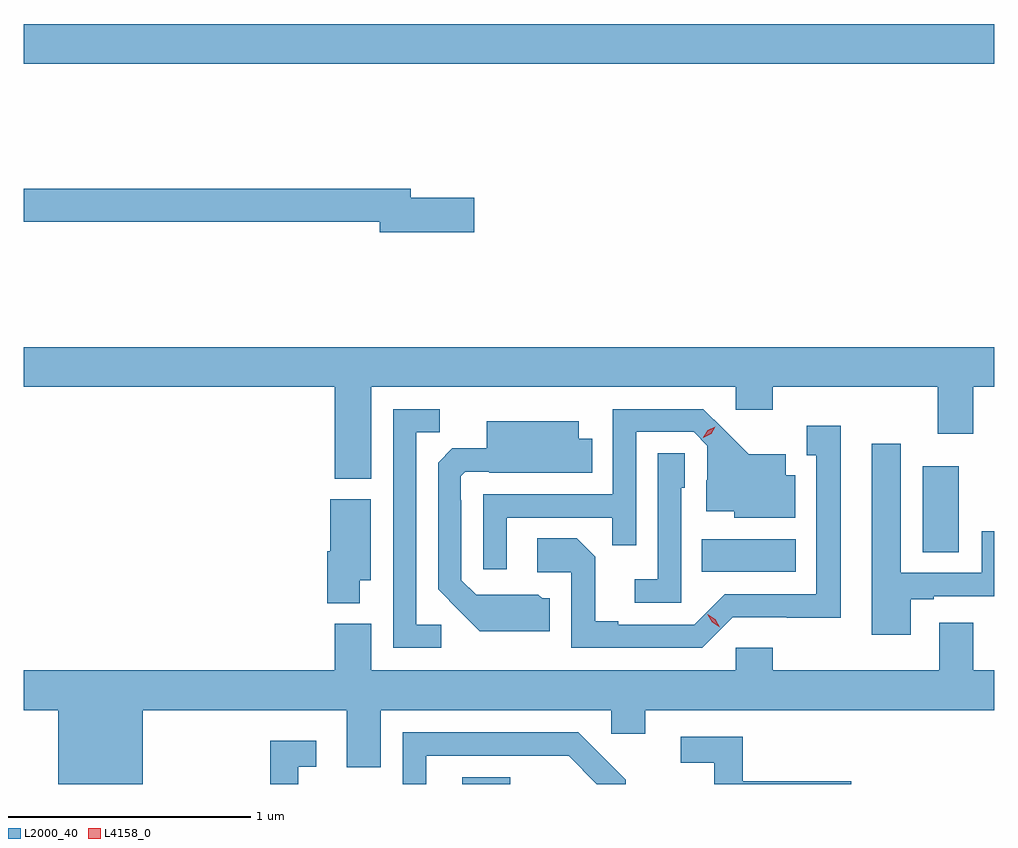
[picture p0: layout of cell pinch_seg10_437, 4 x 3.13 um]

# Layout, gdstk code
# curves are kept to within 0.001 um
import gdstk
lib = gdstk.Library(unit=1e-6, precision=1e-09)
def R(c, l, rs):  # rectangles x0, y0, x1, y1
    for r in rs: c.add(gdstk.rectangle(r[:2], r[2:], *l))
def P(c, l, *ps):  # polygons
    for p in ps: c.add(gdstk.Polygon(p, *l))
L2000_40 = (2000, 40)
L4158_0 = (4158, 0)

pinch_seg10_437 = lib.new_cell('pinch_seg10_437')
R(pinch_seg10_437, L2000_40, [(335.07,1309.335,335.268,1309.362), (336.058,1310.21,336.445,1310.344), (336.968,1310.29,337.117,1310.644), (333.263,1312.304,337.263,1312.468)])
P(pinch_seg10_437, L2000_40, [(335.119,1311.752),(334.858,1311.752),(334.858,1311.788),(333.263,1311.788),(333.263,1311.652),(334.73,1311.652),(334.73,1311.61),(335.119,1311.61)],
  [(334.696,1310.972),(336.198,1310.972),(336.198,1310.877),(336.35,1310.877),(336.35,1310.972),(337.03,1310.972),(337.03,1310.778),(337.177,1310.778),(337.177,1310.972),(337.263,1310.972),(337.263,1311.136),(333.263,1311.136),(333.263,1310.972),(334.544,1310.972),(334.544,1310.594),(334.696,1310.594)],
  [(334.984,1309.992),(334.881,1309.992),(334.881,1310.785),(334.977,1310.785),(334.977,1310.88),(334.785,1310.88),(334.785,1309.896),(334.984,1309.896)],
  [(335.253,1310.433),(335.689,1310.433),(335.689,1310.32),(335.787,1310.32),(335.787,1310.787),(336.024,1310.787),(336.081,1310.73),(336.081,1310.588),(336.077,1310.588),(336.077,1310.459),(336.192,1310.459),(336.192,1310.432),(336.442,1310.432),(336.442,1310.608),(336.403,1310.608),(336.403,1310.695),(336.251,1310.695),(336.064,1310.88),(335.691,1310.88),(335.691,1310.529),(335.157,1310.529),(335.157,1310.22),(335.253,1310.22)],
  [(335.431,1310.1),(335.4,1310.1),(335.384,1310.116),(335.127,1310.115),(335.067,1310.175),(335.067,1310.504),(335.064,1310.504),(335.064,1310.604),(335.082,1310.622),(335.182,1310.622),(335.182,1310.618),(335.606,1310.618),(335.606,1310.758),(335.551,1310.758),(335.551,1310.83),(335.171,1310.83),(335.171,1310.719),(335.03,1310.719),(334.971,1310.66),(334.971,1310.138),(335.143,1309.964),(335.431,1309.964)],
  [(336.186,1310.022),(336.631,1310.021),(336.631,1310.812),(336.491,1310.812),(336.491,1310.691),(336.53,1310.691),(336.53,1310.118),(336.153,1310.118),(336.027,1309.992),(335.713,1309.992),(335.713,1310.005),(335.619,1310.005),(335.619,1310.272),(335.543,1310.348),(335.379,1310.348),(335.379,1310.208),(335.52,1310.208),(335.52,1309.896),(336.06,1309.896)],
  [(336.919,1310.097),(337.015,1310.097),(337.015,1310.109),(337.263,1310.109),(337.263,1310.377),(337.211,1310.377),(337.211,1310.205),(336.877,1310.205),(336.877,1310.737),(336.758,1310.737),(336.758,1309.95),(336.919,1309.95)],
  [(335.973,1310.556),(335.988,1310.556),(335.988,1310.699),(335.877,1310.699),(335.877,1310.179),(335.781,1310.179),(335.781,1310.082),(335.973,1310.082)],
  [(334.648,1310.174),(334.693,1310.174),(334.693,1310.509),(334.526,1310.509),(334.526,1310.295),(334.514,1310.295),(334.514,1310.081),(334.648,1310.081)],
  [(333.754,1309.64),(334.595,1309.64),(334.595,1309.405),(334.735,1309.405),(334.735,1309.64),(335.685,1309.64),(335.685,1309.542),(335.824,1309.542),(335.824,1309.64),(337.263,1309.64),(337.263,1309.804),(337.177,1309.804),(337.177,1309.999),(337.037,1309.999),(337.037,1309.804),(336.35,1309.804),(336.35,1309.897),(336.198,1309.897),(336.198,1309.804),(334.696,1309.804),(334.696,1309.996),(334.544,1309.996),(334.544,1309.804),(333.263,1309.804),(333.263,1309.64),(333.404,1309.64),(333.404,1309.335),(333.754,1309.335)],
  [(334.921,1309.452),(335.509,1309.452),(335.625,1309.335),(335.745,1309.335),(335.745,1309.353),(335.64,1309.458),(335.639,1309.457),(335.548,1309.548),(334.824,1309.548),(334.824,1309.335),(334.921,1309.335)],
  [(336.673,1309.347),(336.227,1309.347),(336.227,1309.53),(335.97,1309.53),(335.97,1309.422),(336.11,1309.422),(336.11,1309.335),(336.673,1309.335)],
  [(334.395,1309.407),(334.468,1309.407),(334.468,1309.513),(334.279,1309.513),(334.279,1309.335),(334.395,1309.335)])
P(pinch_seg10_437, L4158_0, [(336.131,1309.982),(336.1,1310.001),(336.082,1310.033),(336.082,1310.034),(336.083,1310.034),(336.114,1310.015),(336.131,1309.982),(336.131,1309.982)],
  [(336.064,1310.763),(336.064,1310.764),(336.082,1310.793),(336.113,1310.807),(336.114,1310.807),(336.114,1310.807),(336.096,1310.778),(336.064,1310.763)])

lib.write_gds('pinch_seg10_437.gds')
